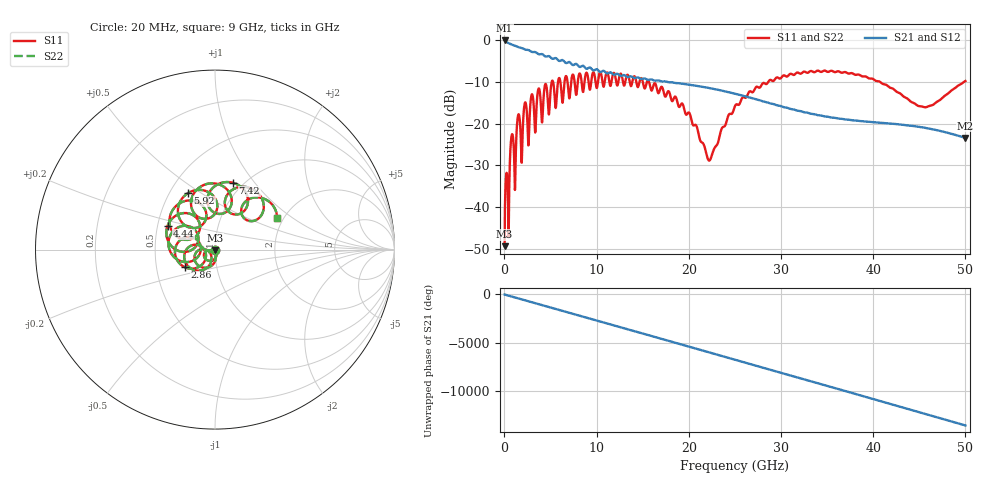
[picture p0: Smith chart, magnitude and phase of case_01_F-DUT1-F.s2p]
# HZ S RI R 50
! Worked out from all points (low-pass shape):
!   2500 points, 20 MHz to 50 GHz, reference 50 ohm
!   highest |S21| = -0.14 dB at 20 MHz (marker M1); lowest = -23.4 dB at 50 GHz (marker M2)
!   |S21| within 3 dB of the highest: start of sweep to 3.514 GHz
!   lowest |S11| = -49.3 dB at 20 MHz (marker M3), VSWR 1.01, Z = 49.9 - j0.338 ohm
!   |S11| at or under -10 dB: start of sweep to 5.136 GHz; 15.67 GHz to 28.63 GHz (12.95 GHz wide, 58.5 % of centre); 40.72 GHz to 49.87 GHz (9.153 GHz wide, 20.2 % of centre)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
!   |S22| runs from -49.3 to -7.3 dB; largest |S21 - S12| = 0
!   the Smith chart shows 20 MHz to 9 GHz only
!   S11 on the Smith chart (normalised r, x): 20 MHz: 1.00, -0.01; 2.86 GHz: 0.70, -0.14; 4.44 GHz: 0.56, +0.16; 5.92 GHz: 0.62, +0.44; 7.42 GHz: 0.90, +0.78; 9 GHz: 1.85, +0.76
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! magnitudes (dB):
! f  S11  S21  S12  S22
! 20 MHz  -49.3  -0.1  -0.1  -49.3
! 800 MHz  -22.7  -1.1  -1.1  -22.7
! 1.1 GHz  -32.3  -1.4  -1.4  -32.3
! 1.5 GHz  -17.9  -1.7  -1.7  -17.9
! 1.86 GHz  -29.3  -1.9  -1.9  -29.3
! 2.22 GHz  -15.1  -2.3  -2.3  -15.1
! 2.58 GHz  -24.6  -2.4  -2.4  -24.6
! 2.86 GHz  -14.2  -2.7  -2.7  -14.2
! 4.44 GHz  -10.6  -4.0  -4.0  -10.6
! 4.82 GHz  -17.8  -3.9  -3.9  -17.8
! 5.92 GHz  -9.1  -5.0  -5.0  -9.1
! 7.42 GHz  -8.3  -6.0  -6.0  -8.3
! 8.36 GHz  -9.8  -6.3  -6.3  -9.8
! 9 GHz  -8.2  -6.9  -6.9  -8.2
! 16.68 GHz  -12.7  -9.7  -9.7  -12.7
! 20.04 GHz  -17.4  -10.7  -10.7  -17.4
! 22.2 GHz  -28.8  -11.5  -11.5  -28.8
! 25.02 GHz  -15.8  -12.9  -12.9  -15.8
! 33.34 GHz  -7.5  -17.7  -17.7  -7.5
! 41.68 GHz  -11.2  -20.0  -20.0  -11.2
! 45.68 GHz  -16.1  -21.0  -21.0  -16.1
! 50 GHz  -9.8  -23.4  -23.4  -9.8
